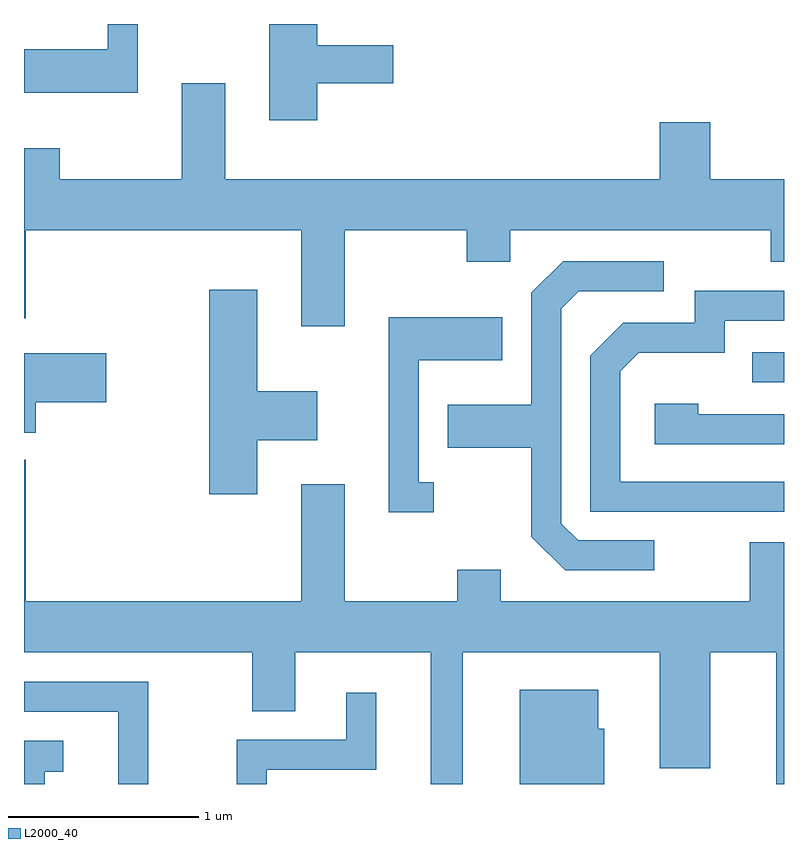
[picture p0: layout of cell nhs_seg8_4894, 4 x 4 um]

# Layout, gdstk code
import gdstk
lib = gdstk.Library(unit=1e-6, precision=1e-09)
def R(c, l, rs):  # rectangles x0, y0, x1, y1
    for r in rs: c.add(gdstk.rectangle(r[:2], r[2:], *l))
def P(c, l, *ps):  # polygons
    for p in ps: c.add(gdstk.Polygon(p, *l))
L2000_40 = (2000, 40)

nhs_seg8_4894 = lib.new_cell('nhs_seg8_4894')
R(nhs_seg8_4894, L2000_40, [(335.443,1884.456,335.611,1884.614)])
P(nhs_seg8_4894, L2000_40, [(333.154,1886.031),(333.554,1886.031),(333.554,1886.229),(333.154,1886.229),(333.154,1886.342),(332.901,1886.342),(332.901,1885.836),(333.154,1885.836)],
  [(332.209,1886.342),(332.051,1886.342),(332.051,1886.209),(331.611,1886.209),(331.611,1885.981),(332.209,1885.981)],
  [(331.611,1884.793),(331.619,1884.793),(331.619,1885.256),(333.071,1885.256),(333.071,1884.751),(333.299,1884.751),(333.299,1885.256),(333.941,1885.256),(333.941,1885.091),(334.169,1885.091),(334.169,1885.256),(335.541,1885.256),(335.541,1885.091),(335.611,1885.091),(335.611,1885.524),(335.224,1885.524),(335.224,1885.824),(334.956,1885.824),(334.956,1885.524),(332.669,1885.524),(332.669,1886.029),(332.441,1886.029),(332.441,1885.524),(331.799,1885.524),(331.799,1885.689),(331.611,1885.689)],
  [(334.928,1883.624),(334.527,1883.624),(334.439,1883.712),(334.439,1884.844),(334.532,1884.936),(334.978,1884.936),(334.978,1885.094),(334.449,1885.094),(334.281,1884.927),(334.281,1884.339),(333.841,1884.339),(333.841,1884.111),(334.281,1884.111),(334.281,1883.644),(334.459,1883.466),(334.928,1883.466)],
  [(332.839,1884.151),(333.154,1884.151),(333.154,1884.409),(332.839,1884.409),(332.839,1884.944),(332.586,1884.944),(332.586,1883.866),(332.839,1883.866)],
  [(335.611,1883.934),(334.749,1883.934),(334.749,1884.514),(334.847,1884.611),(335.299,1884.611),(335.299,1884.781),(335.611,1884.781),(335.611,1884.939),(335.141,1884.939),(335.141,1884.769),(334.764,1884.769),(334.591,1884.597),(334.591,1883.776),(335.611,1883.776)],
  [(333.768,1883.929),(333.689,1883.929),(333.689,1884.571),(334.129,1884.571),(334.129,1884.799),(333.531,1884.799),(333.531,1883.771),(333.768,1883.771)],
  [(331.674,1884.351),(332.044,1884.351),(332.044,1884.609),(331.611,1884.609),(331.611,1884.191),(331.674,1884.191)],
  [(335.611,1884.289),(335.159,1884.289),(335.159,1884.344),(334.931,1884.344),(334.931,1884.131),(335.611,1884.131)],
  [(331.619,1884.048),(331.611,1884.048),(331.611,1883.036),(332.811,1883.036),(332.811,1882.726),(333.039,1882.726),(333.039,1883.036),(333.751,1883.036),(333.751,1882.342),(333.919,1882.342),(333.919,1883.036),(334.956,1883.036),(334.956,1882.426),(335.224,1882.426),(335.224,1883.036),(335.571,1883.036),(335.571,1882.342),(335.611,1882.342),(335.611,1883.614),(335.431,1883.614),(335.431,1883.304),(334.119,1883.304),(334.119,1883.469),(333.891,1883.469),(333.891,1883.304),(333.299,1883.304),(333.299,1883.919),(333.071,1883.919),(333.071,1883.304),(331.619,1883.304)],
  [(332.264,1882.879),(331.611,1882.879),(331.611,1882.721),(332.106,1882.721),(332.106,1882.342),(332.264,1882.342)],
  [(334.664,1882.634),(334.634,1882.634),(334.634,1882.839),(334.221,1882.839),(334.221,1882.342),(334.664,1882.342)],
  [(332.889,1882.416),(333.464,1882.416),(333.464,1882.823),(333.306,1882.823),(333.306,1882.574),(332.731,1882.574),(332.731,1882.342),(332.889,1882.342)],
  [(331.719,1882.406),(331.818,1882.406),(331.818,1882.569),(331.611,1882.569),(331.611,1882.342),(331.719,1882.342)])

lib.write_gds('nhs_seg8_4894.gds')
